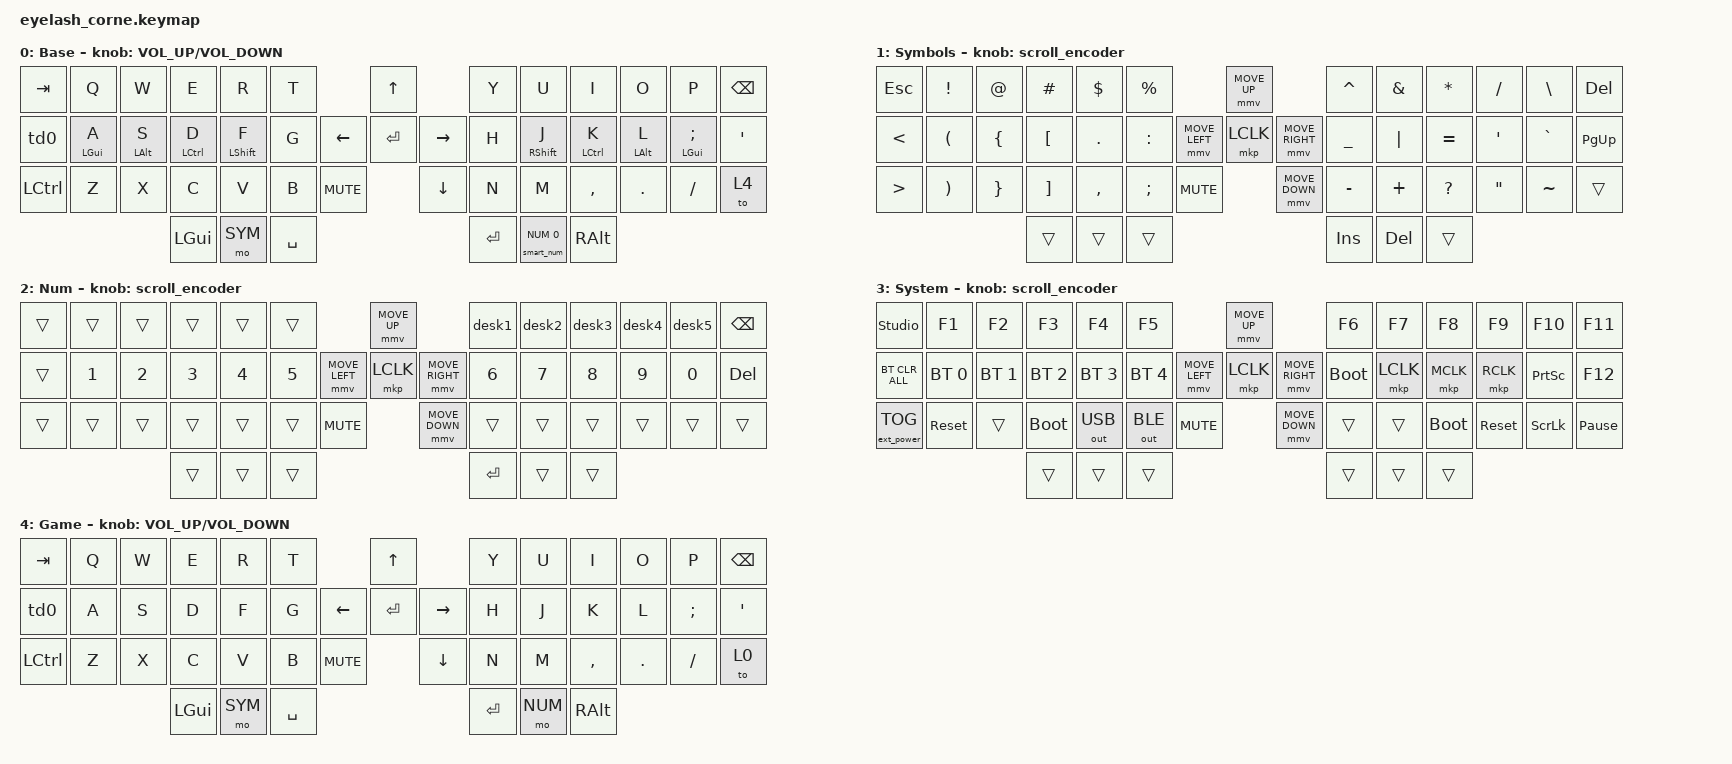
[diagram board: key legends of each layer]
#define ZMK_POINTING_DEFAULT_MOVE_VAL 600  // 600
#define ZMK_POINTING_DEFAULT_SCRL_VAL 25   // 10

#include <input/processors.dtsi>
#include <zephyr/dt-bindings/input/input-event-codes.h>
#include <behaviors.dtsi>
#include <behaviors/num_word.dtsi> 

#include <dt-bindings/zmk/bt.h>
#include <dt-bindings/zmk/ext_power.h>
#include <dt-bindings/zmk/keys.h>
#include <dt-bindings/zmk/outputs.h>
#include <dt-bindings/zmk/pointing.h>
#include <dt-bindings/zmk/rgb.h>
// custom helpers
#include "zmk-helpers/helper.h"
#include "eyelash_corne/keymap.h"
#include "zmk-helpers/unicode-chars/greek.dtsi"
#include "zmk-helpers/unicode-chars/currency.dtsi"


#define BASE 0
#define SYM 1
#define NUM 2
#define SYSTEM  3  
#define GAME  4  

#define KEYS_L LT0 LT1 LT2 LT3 LT4 LM0 LM1 LM2 LM3 LM4 LB0 LB1 LB2 LB3 LB4  // left hand
#define KEYS_R RT0 RT1 RT2 RT3 RT4 RM0 RM1 RM2 RM3 RM4 RB0 RB1 RB2 RB3 RB4  // right hand
#define THUMBS LH2 LH1 LH0 RH0 RH1 RH2   // thumbs

#define QUICK_TAP_MS 175

ZMK_TAP_DANCE(copy_cut, bindings = <&kp LC(INS)>, <&kp LC(X)>;
              tapping-term-ms = <150>;)
ZMK_COMBO(copy_cut, &copy_cut,   LB2 LB3, ALL)  // copy on tap, cut on double-tap, active on all layers
ZMK_COMBO(paste,    &kp LC(V), LB1 LB2, ALL)
ZMK_COMBO(undo ,    &kp LC(Z), LB4 LB3, ALL)
ZMK_COMBO(redo ,    &kp LC(LS(Z)), LB4 LB1, ALL)
ZMK_COMBO(escape ,  &kp ESC, LT5 LT4, ALL)

ZMK_TAP_DANCE(layerdance, bindings = <&tog 4>, <&tog 5>;
              tapping-term-ms = <200>;)

ZMK_TAP_DANCE(desk1, bindings = <&kp LG(N1)>, <&kp LG(LS(N1))>;
              tapping-term-ms = <200>;)
ZMK_TAP_DANCE(desk2, bindings = <&kp LG(N2)>, <&kp LG(LS(N2))>;
              tapping-term-ms = <200>;)
ZMK_TAP_DANCE(desk3, bindings = <&kp LG(N3)>, <&kp LG(LS(N3))>;
              tapping-term-ms = <200>;)
ZMK_TAP_DANCE(desk4, bindings = <&kp LG(N4)>, <&kp LG(LS(N4))>;
              tapping-term-ms = <200>;)
ZMK_TAP_DANCE(desk5, bindings = <&kp LG(N5)>, <&kp LG(LS(N5))>;
              tapping-term-ms = <200>;)


ZMK_HOLD_TAP(hml,
    flavor = "balanced";
    tapping-term-ms = <200>;
    require-prior-idle-ms = <QUICK_TAP_MS>;
    hold-trigger-key-positions = <KEYS_R THUMBS>;
    hold-trigger-on-release;
    bindings = <&kp>, <&kp>;
)

ZMK_HOLD_TAP(hmr,
    flavor = "balanced";
    tapping-term-ms = <200>;
    require-prior-idle-ms = <QUICK_TAP_MS>;
    hold-trigger-key-positions = <KEYS_L THUMBS>;
    hold-trigger-on-release;
    bindings = <&kp>, <&kp>;
)

&mmv_input_listener { input-processors = <&zip_xy_scaler 2 1>; };

&msc_input_listener { input-processors = <&zip_scroll_scaler 2 1>; };

#define SMART_NUM &smart_num NUM 0
ZMK_HOLD_TAP(smart_num, bindings = <&mo>, <&num_dance>; flavor = "balanced";
             tapping-term-ms = <200>; quick-tap-ms = <QUICK_TAP_MS>;)
ZMK_TAP_DANCE(num_dance, bindings = <&num_word NUM>, <&sl NUM>;
              tapping-term-ms = <200>;)

&msc {
    acceleration-exponent = <1>;      // 0
    time-to-max-speed-ms = <100>;       // 300
    delay-ms = <0>;                   // 0
};

&mmv {
    time-to-max-speed-ms = <500>;
    acceleration-exponent = <1>;
    trigger-period-ms = <16>;
};


/ {
    conditional_layers {
        compatible = "zmk,conditional-layers";

        adjust_layer {
            if-layers = <SYM NUM>;
            then-layer = <SYSTEM>;
        };
    };
    behaviors {
        td0: td0 {
            compatible = "zmk,behavior-tap-dance";
            display-name = "Shift/Caps Lock Tap Dance";
            #binding-cells = <0>;
            bindings = <&kp LEFT_SHIFT>, <&kp CAPS>;
        };
    };

    rgb_encoder: rgb_encoder {
        compatible = "zmk,behavior-sensor-rotate";
        #sensor-binding-cells = <0>;
        bindings = <&rgb_ug RGB_BRI>, <&rgb_ug RGB_BRD>;
    };

    scroll_encoder: scroll_encoder {
        compatible = "zmk,behavior-sensor-rotate";
        #sensor-binding-cells = <0>;
        bindings = <&msc SCRL_DOWN>, <&msc SCRL_UP>;
        tap-ms = <100>;
    };


    combos {
        compatible = "zmk,combos";

        backspace {
            bindings = <&kp BACKSPACE>;
            key-positions = <RM1 RM2>;
        };

        delete {
            bindings = <&kp DELETE>;
            key-positions = <27 33>;
        };

        goequal {
            bindings = <&goequal>;
            key-positions = <LM1 LM2>;
        };

        saveandquit {
            bindings = <&savequit>;
            key-positions = <LT3 LT4>;
        };
    };

    macros {
        goequal: goequal {
            compatible = "zmk,behavior-macro";
            #binding-cells = <0>;
            bindings = <&kp COLON &kp EQUAL>;
            label = "GOEQUAL";
        };

        savequit: savequit {
            compatible = "zmk,behavior-macro";
            #binding-cells = <0>;
            bindings = <&kp COLON &kp W &kp Q>;
            label = "SAVEQUIT";
        };
    };

    keymap {
        compatible = "zmk,keymap";

        default_layer {
            display-name = "Base";
            bindings = <
&kp TAB    &kp Q           &kp W         &kp E         &kp R         &kp T                              &kp UP                &kp Y        &kp U            &kp I          &kp O          &kp P           &kp BSPC
&td0       &hml LGUI A     &hml LALT S   &hml LCTRL D  &hml LSHFT F  &kp G                    &kp LEFT  &kp ENTER  &kp RIGHT  &kp H        &hmr RSHFT J     &hmr LCTRL K   &hmr LALT L    &hmr LGUI SEMI  &kp SQT
&kp LCTRL  &kp Z           &kp X         &kp C         &kp V         &kp B       &kp C_MUTE             &kp DOWN              &kp N        &kp M            &kp COMMA      &kp DOT        &kp FSLH        &to 4
                                         &kp LGUI       &mo SYM        &kp SPACE                                              &kp ENTER    SMART_NUM  &kp RALT
            >;
            sensor-bindings = <&inc_dec_kp C_VOLUME_UP C_VOLUME_DOWN>;
        };

        sym_layer {
            display-name = "Symbols";
            bindings = < 
&kp ESC           &kp EXCL               &kp AT           &kp POUND         &kp DOLLAR   &kp PERCENT                            &mmv MOVE_UP                       &kp CARET  &kp AMPERSAND  &kp ASTRK     &kp SLASH          &kp BACKSLASH    &kp DEL
&kp LESS_THAN     &kp LEFT_PARENTHESIS   &kp LEFT_BRACE   &kp LEFT_BRACKET   &kp DOT     &kp COLON              &mmv MOVE_LEFT  &mkp LCLK  &mmv MOVE_RIGHT         &kp UNDER  &kp PIPE       &kp EQUAL     &kp SINGLE_QUOTE   &kp GRAVE        &kp PG_UP
&kp GREATER_THAN  &kp RIGHT_PARENTHESIS  &kp RIGHT_BRACE  &kp RIGHT_BRACKET  &kp COMMA   &kp SEMI &kp C_MUTE                    &mmv MOVE_DOWN                     &kp MINUS  &kp PLUS       &kp QUESTION  &kp DOUBLE_QUOTES  &kp TILDE        &trans
                                         &trans        &trans        &trans                                                                                        &kp INS    &kp DEL        &trans
            >;
            sensor-bindings = <&scroll_encoder>;
        };

        num_layer {
            display-name = "Num";
            bindings = <
&trans  &trans  &trans  &trans &trans &trans                                 &mmv MOVE_UP               &desk1  &desk2   &desk3   &desk4   &desk5 &kp BSPC
&trans  &kp N1  &kp N2  &kp N3 &kp N4 &kp N5                 &mmv MOVE_LEFT  &mkp LCLK  &mmv MOVE_RIGHT &kp N6  &kp N7   &kp N8   &kp N9   &kp N0 &kp DEL
&trans  &trans  &trans  &trans &trans &trans  &kp C_MUTE                     &mmv MOVE_DOWN             &trans  &trans  &trans  &trans &trans &trans 
                        &trans &trans &trans                                                            &kp RET &trans   &trans
            >;
            sensor-bindings = <&scroll_encoder>;
        };

        system_layer {
            display-name = "System";
            bindings = <
&studio_unlock      &kp F1      &kp F2      &kp F3       &kp F4     &kp F5                                               &mmv MOVE_UP                     &kp F6       &kp F7     &kp F8       &kp F9      &kp F10         &kp F11
&bt BT_CLR_ALL     &bt BT_SEL 0  &bt BT_SEL 1  &bt BT_SEL 2  &bt BT_SEL 3  &bt BT_SEL 4                 &mmv MOVE_LEFT  &mkp LCLK       &mmv MOVE_RIGHT  &bootloader  &mkp LCLK  &mkp MCLK    &mkp RCLK   &kp PRINTSCREEN  &kp F12
&ext_power EP_TOG  &sys_reset  &trans      &bootloader  &out OUT_USB  &out OUT_BLE  &kp C_MUTE                          &mmv MOVE_DOWN                   &trans       &trans     &bootloader  &sys_reset  &kp SCROLLLOCK   &kp PAUSE_BREAK
                                &trans      &trans      &trans                                                                   &trans       &trans     &trans
            >;
            sensor-bindings = <&scroll_encoder>;
        };

        game_layer {
            display-name = "Game";
            bindings = <
&kp TAB    &kp Q           &kp W         &kp E         &kp R         &kp T                              &kp UP                &kp Y        &kp U            &kp I          &kp O          &kp P           &kp BSPC
&td0       &kp A           &kp S         &kp D         &kp F         &kp G                    &kp LEFT  &kp ENTER  &kp RIGHT    &kp H        &kp J           &kp K           &kp L           &kp SEMI        &kp SQT
&kp LCTRL  &kp Z           &kp X         &kp C         &kp V         &kp B       &kp C_MUTE             &kp DOWN              &kp N        &kp M            &kp COMMA      &kp DOT        &kp FSLH        &to 0
                                         &kp LGUI       &mo SYM        &kp SPACE                                              &kp ENTER  &mo NUM  &kp RALT
            >;
            sensor-bindings = <&inc_dec_kp C_VOLUME_UP C_VOLUME_DOWN>;
        };
    };
};
